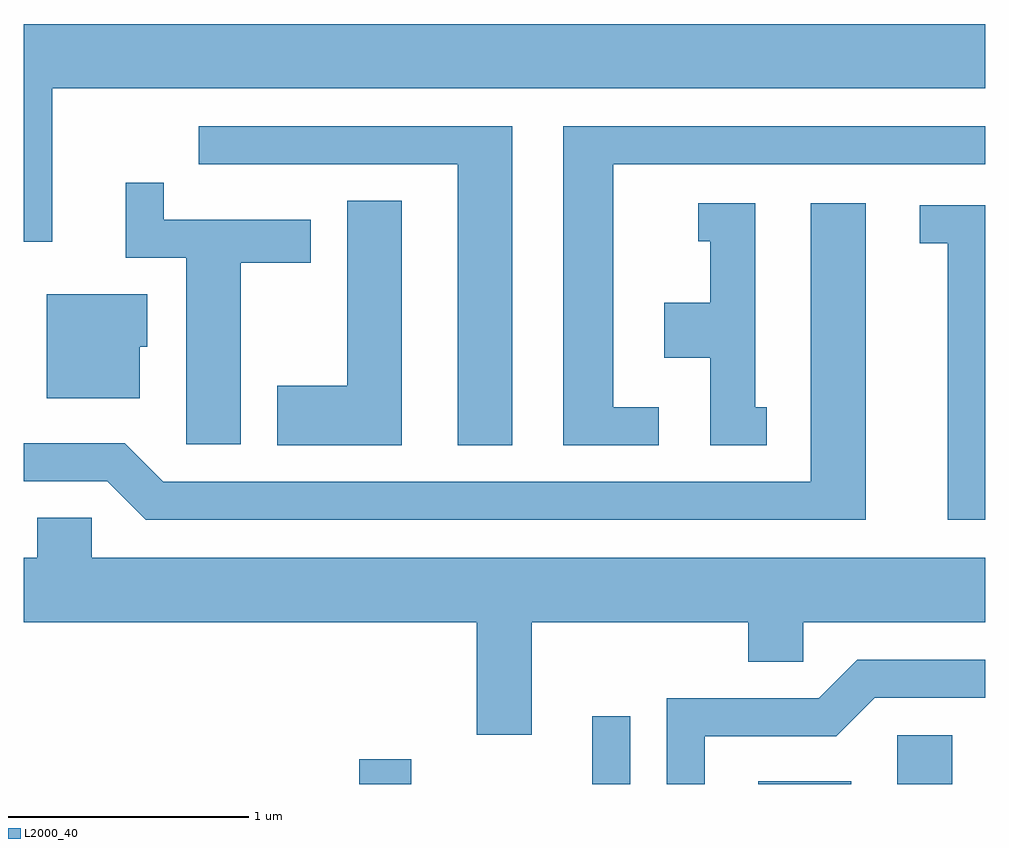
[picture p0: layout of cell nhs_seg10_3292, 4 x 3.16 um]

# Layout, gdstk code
import gdstk
lib = gdstk.Library(unit=1e-6, precision=1e-09)
def R(c, l, rs):  # rectangles x0, y0, x1, y1
    for r in rs: c.add(gdstk.rectangle(r[:2], r[2:], *l))
def P(c, l, *ps):  # polygons
    for p in ps: c.add(gdstk.Polygon(p, *l))
L2000_40 = (2000, 40)

nhs_seg10_3292 = lib.new_cell('nhs_seg10_3292')
R(nhs_seg10_3292, L2000_40, [(283.006,2166.522,283.224,2166.624), (283.976,2166.522,284.134,2166.803), (284.666,2166.522,285.054,2166.534), (285.246,2166.522,285.474,2166.724)])
P(nhs_seg10_3292, L2000_40, [(281.729,2169.416),(285.611,2169.416),(285.611,2169.684),(281.611,2169.684),(281.611,2168.778),(281.729,2168.778)],
  [(283.644,2169.259),(282.338,2169.259),(282.338,2169.101),(283.416,2169.101),(283.416,2167.931),(283.644,2167.931)],
  [(284.253,2168.089),(284.064,2168.089),(284.064,2169.101),(285.611,2169.101),(285.611,2169.259),(283.856,2169.259),(283.856,2167.931),(284.253,2167.931)],
  [(282.514,2168.691),(282.804,2168.691),(282.804,2168.869),(282.194,2168.869),(282.194,2169.023),(282.036,2169.023),(282.036,2168.711),(282.286,2168.711),(282.286,2167.936),(282.514,2167.936)],
  [(283.184,2168.949),(282.956,2168.949),(282.956,2168.179),(282.666,2168.179),(282.666,2167.931),(283.184,2167.931)],
  [(285.114,2168.939),(284.886,2168.939),(284.886,2167.779),(282.192,2167.779),(282.032,2167.939),(281.611,2167.939),(281.611,2167.781),(281.959,2167.781),(282.119,2167.621),(285.114,2167.621)],
  [(284.703,2168.089),(284.654,2168.089),(284.654,2168.939),(284.418,2168.939),(284.418,2168.781),(284.466,2168.781),(284.466,2168.524),(284.276,2168.524),(284.276,2168.296),(284.466,2168.296),(284.466,2167.931),(284.703,2167.931)],
  [(285.611,2168.929),(285.338,2168.929),(285.338,2168.771),(285.456,2168.771),(285.456,2167.621),(285.611,2167.621)],
  [(282.094,2168.341),(282.124,2168.341),(282.124,2168.559),(281.706,2168.559),(281.706,2168.126),(282.094,2168.126)],
  [(283.724,2167.196),(284.626,2167.196),(284.626,2167.031),(284.854,2167.031),(284.854,2167.196),(285.611,2167.196),(285.611,2167.464),(281.894,2167.464),(281.894,2167.629),(281.666,2167.629),(281.666,2167.464),(281.611,2167.464),(281.611,2167.196),(283.496,2167.196),(283.496,2166.726),(283.724,2166.726)],
  [(284.444,2166.721),(284.992,2166.721),(285.152,2166.881),(285.611,2166.881),(285.611,2167.039),(285.079,2167.039),(284.919,2166.879),(284.286,2166.879),(284.286,2166.522),(284.444,2166.522)])

lib.write_gds('nhs_seg10_3292.gds')
